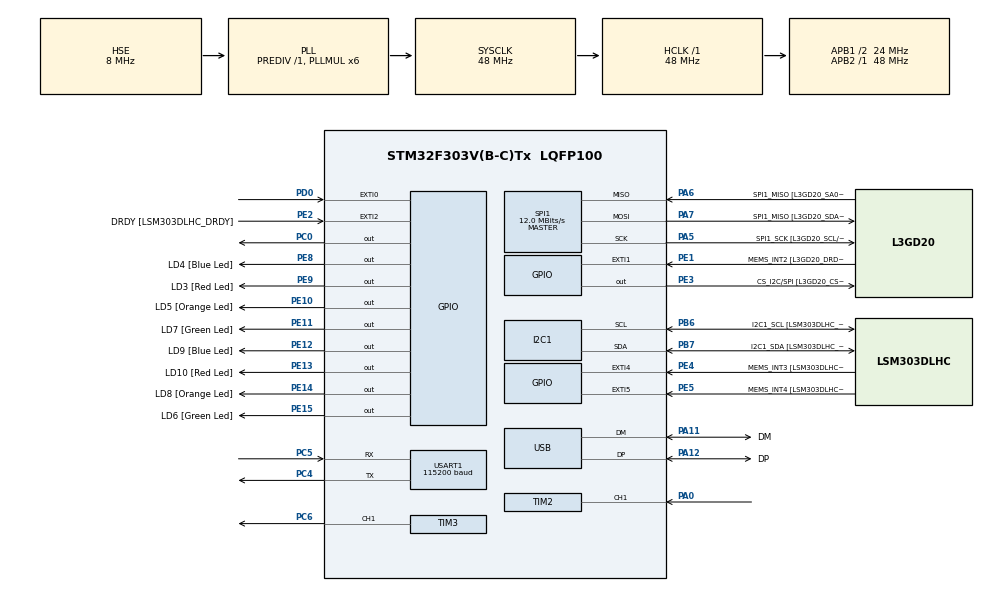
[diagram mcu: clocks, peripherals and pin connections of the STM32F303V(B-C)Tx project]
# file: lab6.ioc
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I2C1.Timing=0x2000090E
I2C1.Timing-I2C=0x2000090E
Mcu.Family=STM32F3
Mcu.Name=STM32F303V(B-C)Tx
Mcu.Package=LQFP100
NVIC.EXTI0_IRQn=true\:0\:0\:false\:false\:true\:true\:true\:true
NVIC.PriorityGroup=NVIC_PRIORITYGROUP_0
NVIC.TIM2_IRQn=true\:0\:0\:false\:false\:true\:true\:true\:true
NVIC.USB_LP_CAN_RX0_IRQn=true\:0\:0\:false\:false\:true\:false\:true\:true
PA0.Signal=S_TIM2_CH1_ETR
PA11.GPIO_Label=DM
PA11.Mode=Device
PA11.Signal=USB_DM
PA12.GPIO_Label=DP
PA12.Mode=Device
PA12.Signal=USB_DP
PA13.GPIO_Label=SWDIO
PA13.Mode=Serial_Wire
PA13.Signal=SYS_JTMS-SWDIO
PA14.GPIO_Label=SWCLK
PA14.Mode=Serial_Wire
PA14.Signal=SYS_JTCK-SWCLK
PA5.GPIO_Label=SPI1_SCK [L3GD20_SCL/SPC]
PA5.Mode=Full_Duplex_Master
PA5.Signal=SPI1_SCK
PA6.GPIO_Label=SPI1_MISO [L3GD20_SA0/SDO]
PA6.Mode=Full_Duplex_Master
PA6.Signal=SPI1_MISO
PA7.GPIO_Label=SPI1_MISO [L3GD20_SDA/SDI/SDO]
PA7.Mode=Full_Duplex_Master
PA7.Signal=SPI1_MOSI
PB3.GPIO_Label=SWO
PB3.Signal=SYS_JTDO-TRACESWO
PB6.GPIO_Label=I2C1_SCL [LSM303DLHC_SCL]
PB6.GPIO_Pu=GPIO_PULLUP
PB6.Mode=I2C
PB6.Signal=I2C1_SCL
PB7.GPIO_Label=I2C1_SDA [LSM303DLHC_SDA]
PB7.GPIO_Pu=GPIO_PULLUP
PB7.Mode=I2C
PB7.Signal=I2C1_SDA
PC0.Signal=GPIO_Output
PC14-OSC32_IN.GPIO_Label=OSC32_IN
PC14-OSC32_IN.Signal=RCC_OSC32_IN
PC15-OSC32_OUT.GPIO_Label=OSC32_OUT
PC15-OSC32_OUT.Signal=RCC_OSC32_OUT
PC4.Mode=Asynchronous
PC4.Signal=USART1_TX
PC5.Mode=Asynchronous
PC5.Signal=USART1_RX
PC6.Signal=S_TIM3_CH1
PD0.Signal=GPXTI0
PE1.GPIO_Label=MEMS_INT2 [L3GD20_DRDY/INT2]
PE1.GPIO_ModeDefaultEXTI=GPIO_MODE_EVT_RISING
PE1.Signal=GPXTI1
PE10.GPIO_Label=LD5 [Orange Led]
PE10.Signal=GPIO_Output
PE11.GPIO_Label=LD7 [Green Led]
PE11.Signal=GPIO_Output
PE12.GPIO_Label=LD9 [Blue Led]
PE12.Signal=GPIO_Output
PE13.GPIO_Label=LD10 [Red Led]
PE13.Signal=GPIO_Output
PE14.GPIO_Label=LD8 [Orange Led]
PE14.Signal=GPIO_Output
PE15.GPIO_Label=LD6 [Green Led]
PE15.Signal=GPIO_Output
PE2.GPIO_Label=DRDY [LSM303DLHC_DRDY]
PE2.GPIO_ModeDefaultEXTI=GPIO_MODE_EVT_RISING
PE2.Signal=GPXTI2
PE3.GPIO_Label=CS_I2C/SPI [L3GD20_CS_I2C/SPI]
PE3.Signal=GPIO_Output
PE4.GPIO_Label=MEMS_INT3 [LSM303DLHC_INT1]
PE4.GPIO_ModeDefaultEXTI=GPIO_MODE_EVT_RISING
PE4.Signal=GPXTI4
PE5.GPIO_Label=MEMS_INT4 [LSM303DLHC_INT2]
PE5.GPIO_ModeDefaultEXTI=GPIO_MODE_EVT_RISING
PE5.Signal=GPXTI5
PE8.GPIO_Label=LD4 [Blue Led]
PE8.Signal=GPIO_Output
PE9.GPIO_Label=LD3 [Red Led]
PE9.Signal=GPIO_Output
PF0-OSC_IN.GPIO_Label=OSC_IN
PF0-OSC_IN.Mode=HSE-External-Clock-Source
PF0-OSC_IN.Signal=RCC_OSC_IN
PF1-OSC_OUT.GPIO_Label=OSC_OUT
PF1-OSC_OUT.Signal=RCC_OSC_OUT
ProjectManager.HeapSize=0x200
ProjectManager.StackSize=0x400
ProjectManager.TargetToolchain=CMake
RCC.AHBFreq_Value=48000000
RCC.APB1CLKDivider=RCC_HCLK_DIV2
RCC.APB1Freq_Value=24000000
RCC.APB1TimFreq_Value=48000000
RCC.APB2Freq_Value=48000000
RCC.APB2TimFreq_Value=48000000
RCC.CortexFreq_Value=48000000
RCC.HCLKFreq_Value=48000000
RCC.HSE_VALUE=8000000
RCC.HSI_VALUE=8000000
RCC.LSE_VALUE=32768
RCC.PLLMUL=RCC_PLL_MUL6
RCC.SYSCLKFreq_VALUE=48000000
RCC.SYSCLKSourceVirtual=RCC_SYSCLKSOURCE_PLLCLK
RCC.USBFreq_Value=48000000
SH.S_TIM2_CH1_ETR.0=TIM2_CH1,Input_Capture1_from_TI1
SH.S_TIM3_CH1.0=TIM3_CH1,PWM Generation1 CH1
SPI1.BaudRatePrescaler=SPI_BAUDRATEPRESCALER_4
SPI1.BaudRatePrescaler-Full_Duplex_Master=SPI_BAUDRATEPRESCALER_2
SPI1.CalculateBaudRate=12.0 MBits/s
SPI1.CalculateBaudRate-Full_Duplex_Master=24.0 MBits/s
SPI1.Direction=SPI_DIRECTION_2LINES
SPI1.Mode=SPI_MODE_MASTER
SPI1.Mode-Full_Duplex_Master=SPI_MODE_MASTER
SPI1.VirtualType=VM_MASTER
TIM2.Channel-Input_Capture1_from_TI1=TIM_CHANNEL_1
TIM2.Period=0xFFFF
TIM2.Prescaler=9
TIM3.Channel-PWM\ Generation1\ CH1=TIM_CHANNEL_1
TIM3.Period=999
TIM3.Prescaler=47
USART1.BaudRate=115200
USART1.VirtualMode-Asynchronous=VM_ASYNC
USB_DEVICE.CLASS_NAME_FS=CDC
USB_DEVICE.VirtualMode=Cdc
USB_DEVICE.VirtualModeFS=Cdc_FS
VP_USB_DEVICE_VS_USB_DEVICE_CDC_FS.Mode=CDC_FS
board=STM32F3DISCOVERY

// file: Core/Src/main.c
/* USER CODE BEGIN Header */
/**
  ******************************************************************************
  * @file           : main.c
  * @brief          : Main program body
  ******************************************************************************
  * @attention
  *
  * Copyright (c) 2025 STMicroelectronics.
  * All rights reserved.
  *
  * This software is licensed under terms that can be found in the LICENSE file
  * in the root directory of this software component.
  * If no LICENSE file comes with this software, it is provided AS-IS.
  *
  ******************************************************************************
  */
/* USER CODE END Header */
#include "main.h"
#include "usb_device.h"

I2C_HandleTypeDef hi2c1;

SPI_HandleTypeDef hspi1;

TIM_HandleTypeDef htim2;
TIM_HandleTypeDef htim3;

UART_HandleTypeDef huart1;

/* USER CODE BEGIN PV */
// uint32_t ic_val1 = 0;
// uint32_t ic_val2 = 0;
// uint32_t period = 0;
// uint8_t is_first_capture = 1;
// uint8_t capture_done = 0;
uint32_t first_capture = 0, second_capture = 0;
uint8_t is_first_captured = 0;
float frequency = 0;

/* USER CODE END PV */

void SystemClock_Config(void);
static void MX_GPIO_Init(void);
static void MX_I2C1_Init(void);
static void MX_SPI1_Init(void);
static void MX_TIM2_Init(void);
static void MX_USART1_UART_Init(void);
static void MX_TIM3_Init(void);

int main(void)
{

  /* MCU Configuration--------------------------------------------------------*/

  /* Reset of all peripherals, Initializes the Flash interface and the Systick. */
  HAL_Init();

  /* Configure the system clock */
  SystemClock_Config();

  /* Initialize all configured peripherals */
  MX_GPIO_Init();
  MX_I2C1_Init();
  MX_SPI1_Init();
  MX_TIM2_Init();
  MX_USART1_UART_Init();
  MX_USB_DEVICE_Init();
  MX_TIM3_Init();
  /* USER CODE BEGIN 2 */
  HAL_TIM_Base_Start(&htim2);
  /* USER CODE BEGIN 2 */
// HAL_TIM_IC_Start_IT(&htim2, TIM_CHANNEL_1);   // Start TIM2 channel 1 input-capture interrupt
/* USER CODE END 2 */

  /* USER CODE END 2 */

  /* Infinite loop */
  while (1)
  {
    /* USER CODE BEGIN 3 */
char msg[50];
sprintf(msg, "Frequency = %.2f Hz\r\n", frequency);
HAL_UART_Transmit(&huart1, (uint8_t*)msg, strlen(msg), HAL_MAX_DELAY);
HAL_Delay(500);
/* USER CODE END 3 */

  }
}

void SystemClock_Config(void)
{
  RCC_OscInitTypeDef RCC_OscInitStruct = {0};
  RCC_ClkInitTypeDef RCC_ClkInitStruct = {0};
  RCC_PeriphCLKInitTypeDef PeriphClkInit = {0};

  /** Initializes the RCC Oscillators according to the specified parameters
  * in the RCC_OscInitTypeDef structure.
  */
  RCC_OscInitStruct.OscillatorType = RCC_OSCILLATORTYPE_HSI|RCC_OSCILLATORTYPE_HSE;
  RCC_OscInitStruct.HSEState = RCC_HSE_BYPASS;
  RCC_OscInitStruct.HSEPredivValue = RCC_HSE_PREDIV_DIV1;
  RCC_OscInitStruct.HSIState = RCC_HSI_ON;
  RCC_OscInitStruct.HSICalibrationValue = RCC_HSICALIBRATION_DEFAULT;
  RCC_OscInitStruct.PLL.PLLState = RCC_PLL_ON;
  RCC_OscInitStruct.PLL.PLLSource = RCC_PLLSOURCE_HSE;
  RCC_OscInitStruct.PLL.PLLMUL = RCC_PLL_MUL6;
  if (HAL_RCC_OscConfig(&RCC_OscInitStruct) != HAL_OK)
  {
    Error_Handler();
  }

  /** Initializes the CPU, AHB and APB buses clocks
  */
  RCC_ClkInitStruct.ClockType = RCC_CLOCKTYPE_HCLK|RCC_CLOCKTYPE_SYSCLK
                              |RCC_CLOCKTYPE_PCLK1|RCC_CLOCKTYPE_PCLK2;
  RCC_ClkInitStruct.SYSCLKSource = RCC_SYSCLKSOURCE_PLLCLK;
  RCC_ClkInitStruct.AHBCLKDivider = RCC_SYSCLK_DIV1;
  RCC_ClkInitStruct.APB1CLKDivider = RCC_HCLK_DIV2;
  RCC_ClkInitStruct.APB2CLKDivider = RCC_HCLK_DIV1;

  if (HAL_RCC_ClockConfig(&RCC_ClkInitStruct, FLASH_LATENCY_1) != HAL_OK)
  {
    Error_Handler();
  }
  PeriphClkInit.PeriphClockSelection = RCC_PERIPHCLK_USB|RCC_PERIPHCLK_USART1
                              |RCC_PERIPHCLK_I2C1;
  PeriphClkInit.Usart1ClockSelection = RCC_USART1CLKSOURCE_PCLK2;
  PeriphClkInit.I2c1ClockSelection = RCC_I2C1CLKSOURCE_HSI;
  PeriphClkInit.USBClockSelection = RCC_USBCLKSOURCE_PLL;
  if (HAL_RCCEx_PeriphCLKConfig(&PeriphClkInit) != HAL_OK)
  {
    Error_Handler();
  }
}

static void MX_I2C1_Init(void)
{

  hi2c1.Instance = I2C1;
  hi2c1.Init.Timing = 0x2000090E;
  hi2c1.Init.OwnAddress1 = 0;
  hi2c1.Init.AddressingMode = I2C_ADDRESSINGMODE_7BIT;
  hi2c1.Init.DualAddressMode = I2C_DUALADDRESS_DISABLE;
  hi2c1.Init.OwnAddress2 = 0;
  hi2c1.Init.OwnAddress2Masks = I2C_OA2_NOMASK;
  hi2c1.Init.GeneralCallMode = I2C_GENERALCALL_DISABLE;
  hi2c1.Init.NoStretchMode = I2C_NOSTRETCH_DISABLE;
  if (HAL_I2C_Init(&hi2c1) != HAL_OK)
  {
    Error_Handler();
  }

  /** Configure Analogue filter
  */
  if (HAL_I2CEx_ConfigAnalogFilter(&hi2c1, I2C_ANALOGFILTER_ENABLE) != HAL_OK)
  {
    Error_Handler();
  }

  /** Configure Digital filter
  */
  if (HAL_I2CEx_ConfigDigitalFilter(&hi2c1, 0) != HAL_OK)
  {
    Error_Handler();
  }

}

static void MX_SPI1_Init(void)
{

  /* SPI1 parameter configuration*/
  hspi1.Instance = SPI1;
  hspi1.Init.Mode = SPI_MODE_MASTER;
  hspi1.Init.Direction = SPI_DIRECTION_2LINES;
  hspi1.Init.DataSize = SPI_DATASIZE_4BIT;
  hspi1.Init.CLKPolarity = SPI_POLARITY_LOW;
  hspi1.Init.CLKPhase = SPI_PHASE_1EDGE;
  hspi1.Init.NSS = SPI_NSS_SOFT;
  hspi1.Init.BaudRatePrescaler = SPI_BAUDRATEPRESCALER_4;
  hspi1.Init.FirstBit = SPI_FIRSTBIT_MSB;
  hspi1.Init.TIMode = SPI_TIMODE_DISABLE;
  hspi1.Init.CRCCalculation = SPI_CRCCALCULATION_DISABLE;
  hspi1.Init.CRCPolynomial = 7;
  hspi1.Init.CRCLength = SPI_CRC_LENGTH_DATASIZE;
  hspi1.Init.NSSPMode = SPI_NSS_PULSE_ENABLE;
  if (HAL_SPI_Init(&hspi1) != HAL_OK)
  {
    Error_Handler();
  }

}

static void MX_TIM2_Init(void)
{

  TIM_MasterConfigTypeDef sMasterConfig = {0};
  TIM_IC_InitTypeDef sConfigIC = {0};

  htim2.Instance = TIM2;
  htim2.Init.Prescaler = 9;
  htim2.Init.CounterMode = TIM_COUNTERMODE_UP;
  htim2.Init.Period = 0xFFFF;
  htim2.Init.ClockDivision = TIM_CLOCKDIVISION_DIV1;
  htim2.Init.AutoReloadPreload = TIM_AUTORELOAD_PRELOAD_DISABLE;
  if (HAL_TIM_IC_Init(&htim2) != HAL_OK)
  {
    Error_Handler();
  }
  sMasterConfig.MasterOutputTrigger = TIM_TRGO_RESET;
  sMasterConfig.MasterSlaveMode = TIM_MASTERSLAVEMODE_DISABLE;
  if (HAL_TIMEx_MasterConfigSynchronization(&htim2, &sMasterConfig) != HAL_OK)
  {
    Error_Handler();
  }
  sConfigIC.ICPolarity = TIM_INPUTCHANNELPOLARITY_RISING;
  sConfigIC.ICSelection = TIM_ICSELECTION_DIRECTTI;
  sConfigIC.ICPrescaler = TIM_ICPSC_DIV1;
  sConfigIC.ICFilter = 0;
  if (HAL_TIM_IC_ConfigChannel(&htim2, &sConfigIC, TIM_CHANNEL_1) != HAL_OK)
  {
    Error_Handler();
  }

}

static void MX_TIM3_Init(void)
{

  TIM_MasterConfigTypeDef sMasterConfig = {0};
  TIM_OC_InitTypeDef sConfigOC = {0};

  htim3.Instance = TIM3;
  htim3.Init.Prescaler = 47;
  htim3.Init.CounterMode = TIM_COUNTERMODE_UP;
  htim3.Init.Period = 999;
  htim3.Init.ClockDivision = TIM_CLOCKDIVISION_DIV1;
  htim3.Init.AutoReloadPreload = TIM_AUTORELOAD_PRELOAD_DISABLE;
  if (HAL_TIM_PWM_Init(&htim3) != HAL_OK)
  {
    Error_Handler();
  }
  sMasterConfig.MasterOutputTrigger = TIM_TRGO_RESET;
  sMasterConfig.MasterSlaveMode = TIM_MASTERSLAVEMODE_DISABLE;
  if (HAL_TIMEx_MasterConfigSynchronization(&htim3, &sMasterConfig) != HAL_OK)
  {
    Error_Handler();
  }
  sConfigOC.OCMode = TIM_OCMODE_PWM1;
  sConfigOC.Pulse = 0;
  sConfigOC.OCPolarity = TIM_OCPOLARITY_HIGH;
  sConfigOC.OCFastMode = TIM_OCFAST_DISABLE;
  if (HAL_TIM_PWM_ConfigChannel(&htim3, &sConfigOC, TIM_CHANNEL_1) != HAL_OK)
  {
    Error_Handler();
  }
  HAL_TIM_MspPostInit(&htim3);

}

static void MX_USART1_UART_Init(void)
{

  huart1.Instance = USART1;
  huart1.Init.BaudRate = 115200;
  huart1.Init.WordLength = UART_WORDLENGTH_8B;
  huart1.Init.StopBits = UART_STOPBITS_1;
  huart1.Init.Parity = UART_PARITY_NONE;
  huart1.Init.Mode = UART_MODE_TX_RX;
  huart1.Init.HwFlowCtl = UART_HWCONTROL_NONE;
  huart1.Init.OverSampling = UART_OVERSAMPLING_16;
  huart1.Init.OneBitSampling = UART_ONE_BIT_SAMPLE_DISABLE;
  huart1.AdvancedInit.AdvFeatureInit = UART_ADVFEATURE_NO_INIT;
  if (HAL_UART_Init(&huart1) != HAL_OK)
  {
    Error_Handler();
  }

}

static void MX_GPIO_Init(void)
{
  GPIO_InitTypeDef GPIO_InitStruct = {0};

  /* GPIO Ports Clock Enable */
  __HAL_RCC_GPIOE_CLK_ENABLE();
  __HAL_RCC_GPIOC_CLK_ENABLE();
  __HAL_RCC_GPIOF_CLK_ENABLE();
  __HAL_RCC_GPIOA_CLK_ENABLE();
  __HAL_RCC_GPIOD_CLK_ENABLE();
  __HAL_RCC_GPIOB_CLK_ENABLE();

  /*Configure GPIO pin Output Level */
  HAL_GPIO_WritePin(GPIOE, CS_I2C_SPI_Pin|LD4_Pin|LD3_Pin|LD5_Pin
                          |LD7_Pin|LD9_Pin|LD10_Pin|LD8_Pin
                          |LD6_Pin, GPIO_PIN_RESET);

  /*Configure GPIO pin Output Level */
  HAL_GPIO_WritePin(GPIOC, GPIO_PIN_0, GPIO_PIN_RESET);

  /*Configure GPIO pins : DRDY_Pin MEMS_INT3_Pin MEMS_INT4_Pin MEMS_INT2_Pin */
  GPIO_InitStruct.Pin = DRDY_Pin|MEMS_INT3_Pin|MEMS_INT4_Pin|MEMS_INT2_Pin;
  GPIO_InitStruct.Mode = GPIO_MODE_EVT_RISING;
  GPIO_InitStruct.Pull = GPIO_NOPULL;
  HAL_GPIO_Init(GPIOE, &GPIO_InitStruct);

  /*Configure GPIO pins : CS_I2C_SPI_Pin LD4_Pin LD3_Pin LD5_Pin
                           LD7_Pin LD9_Pin LD10_Pin LD8_Pin
                           LD6_Pin */
  GPIO_InitStruct.Pin = CS_I2C_SPI_Pin|LD4_Pin|LD3_Pin|LD5_Pin
                          |LD7_Pin|LD9_Pin|LD10_Pin|LD8_Pin
                          |LD6_Pin;
  GPIO_InitStruct.Mode = GPIO_MODE_OUTPUT_PP;
  GPIO_InitStruct.Pull = GPIO_NOPULL;
  GPIO_InitStruct.Speed = GPIO_SPEED_FREQ_LOW;
  HAL_GPIO_Init(GPIOE, &GPIO_InitStruct);

  /*Configure GPIO pin : PC0 */
  GPIO_InitStruct.Pin = GPIO_PIN_0;
  GPIO_InitStruct.Mode = GPIO_MODE_OUTPUT_PP;
  GPIO_InitStruct.Pull = GPIO_NOPULL;
  GPIO_InitStruct.Speed = GPIO_SPEED_FREQ_LOW;
  HAL_GPIO_Init(GPIOC, &GPIO_InitStruct);

  /*Configure GPIO pin : PD0 */
  GPIO_InitStruct.Pin = GPIO_PIN_0;
  GPIO_InitStruct.Mode = GPIO_MODE_IT_RISING;
  GPIO_InitStruct.Pull = GPIO_NOPULL;
  HAL_GPIO_Init(GPIOD, &GPIO_InitStruct);

  /* EXTI interrupt init*/
  HAL_NVIC_SetPriority(EXTI0_IRQn, 0, 0);
  HAL_NVIC_EnableIRQ(EXTI0_IRQn);

}

/* USER CODE BEGIN 4 */
void HAL_GPIO_EXTI_Callback(uint16_t GPIO_Pin)
{
  if (GPIO_Pin == GPIO_PIN_0)
  {
    if (is_first_captured == 0)
    {
      first_capture = __HAL_TIM_GET_COUNTER(&htim2);
      is_first_captured = 1;
    }
    else
    {
      second_capture = __HAL_TIM_GET_COUNTER(&htim2);

      uint32_t diff;
      if (second_capture > first_capture)
        diff = second_capture - first_capture;
      else
        diff = (0xFFFF - first_capture) + second_capture;

      frequency = 4800000.0f / diff; // 48 MHz / (Prescaler + 1)
 // 72 MHz / (Prescaler + 1)
      is_first_captured = 0;
    }
  }
}

/* USER CODE END 4 */

void Error_Handler(void)
{
  __disable_irq();
  while (1)
  {
  }
}
